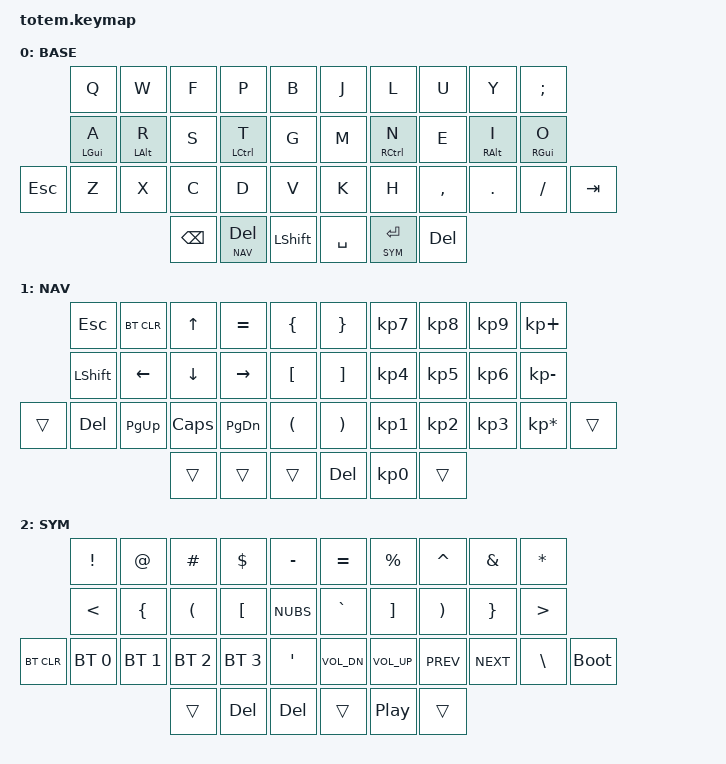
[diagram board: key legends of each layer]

//
//                                                        ▀▀▀▀▀     ▀▀▀▀▀          ▀▀█▀▀
//                                                        ▄▀▀▀▄  ▄  ▄▀▀▀▄  ▄  ▄▀▀▀▄  █  ▄▀▀▀▄
//                                                        █   █  █  █   █  █  █   █  █  █   █
//                                                         ▀▀▀   █   ▀▀▀   █   ▀▀▀   ▀   ▀▀▀
//                                                               █      ▄▄▄█▄▄▄    █   █  
//                                                               ▀      █  █  █     █▄█
//                                                             ▀▀▀▀▀    █  █  █      ▀
//                                                                      ▀  ▀  ▀
//
// ▄▄▄▄▄▄▄▄▄▄▄▄▄▄▄▄▄▄▄▄▄▄▄▄▄▄▄▄▄▄▄▄▄▄▄▄▄▄▄▄▄▄▄▄▄▄▄▄▄▄▄▄▄▄▄▄▄▄▄▄▄▄▄▄▄▄▄▄▄▄▄▄▄▄▄▄▄▄▄▄▄▄▄▄▄▄▄▄▄▄▄▄▄▄▄▄▄▄▄▄▄▄▄▄▄▄▄▄▄▄▄▄▄▄▄▄▄▄▄▄▄▄▄▄▄▄▄▄▄▄▄▄▄▄▄▄▄▄▄▄▄▄▄▄▄▄▄▄▄
       

#include <behaviors.dtsi>
#include <dt-bindings/zmk/keys.h>
#include <dt-bindings/zmk/bt.h>
#include <dt-bindings/zmk/outputs.h>

#define BASE 0
#define NAV  1
#define SYM  2

&mt {
  quick-tap-ms = <100>;
  global-quick-tap;
  flavor = "tap-preferred";
  tapping-term-ms = <170>;
};

/ {
     combos {
            compatible = "zmk,combos";
            combo_esc {
                timeout-ms = <50>;
                key-positions = <0 1>;
                bindings = <&kp ESC>;
            };
    };

        keymap {
                compatible = "zmk,keymap";
                base_layer {
label= "BASE";
 bindings = <

                &kp Q         &kp W         &kp F         &kp P         &kp B             &kp J         &kp L         &kp U         &kp Y         &kp SEMI
                &mt LGUI A    &mt LALT R    &kp S         &mt LCTRL T   &kp G             &kp M         &mt RCTRL N   &kp E         &mt RALT I    &mt RGUI O
    &kp ESC     &kp Z         &kp X         &kp C         &kp D         &kp V             &kp K         &kp H         &kp COMMA     &kp DOT       &kp FSLH      &kp TAB
                                            &kp BSPC      &lt NAV DEL   &kp LSHFT         &kp SPACE     &lt SYM RET   &kp DEL
                        >;
                };

                nav_layer {
label= "NAV";
 bindings = <

                &kp ESC       &bt BT_CLR    &kp UP        &kp EQUAL     &kp LBRC          &kp RBRC      &kp KP_N7     &kp KP_N8     &kp KP_N9     &kp KP_PLUS
                &kp LSHFT     &kp LEFT      &kp DOWN      &kp RIGHT     &kp LBKT          &kp RBKT      &kp KP_N4     &kp KP_N5     &kp KP_N6     &kp KP_MINUS
    &trans      &kp DEL       &kp PG_UP     &kp CAPS      &kp PG_DN     &kp LPAR          &kp RPAR      &kp KP_N1     &kp KP_N2     &kp KP_N3     &kp KP_MULTIPLY  &trans
                                            &trans        &trans        &trans            &kp DEL       &kp KP_N0     &trans
                        >;
                };

                sim_layer {
label= "SYM";
 bindings = <

                &kp EXCL      &kp AT        &kp HASH      &kp DLLR      &kp MINUS         &kp EQUAL     &kp PRCNT     &kp CARET     &kp AMPS      &kp STAR
                &kp LT        &kp LBRC      &kp LPAR      &kp LBKT      &kp NUBS          &kp GRAVE     &kp RBKT      &kp RPAR      &kp RBRC      &kp GT
    &bt BT_CLR  &bt BT_SEL 0  &bt BT_SEL 1  &bt BT_SEL 2  &bt BT_SEL 3  &kp SQT           &kp C_VOL_DN  &kp C_VOL_UP  &kp C_PREV    &kp C_NEXT    &kp BSLH     &bootloader
                                            &trans        &kp DEL       &kp DEL           &trans        &kp C_PP      &trans
                        >;
                };
        };
};
